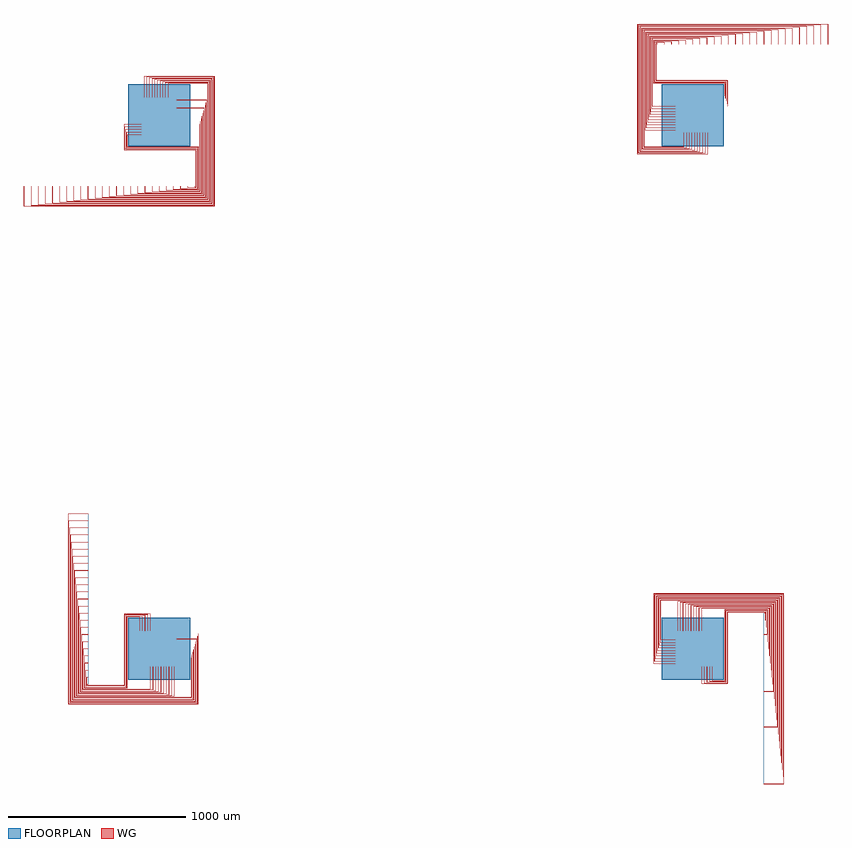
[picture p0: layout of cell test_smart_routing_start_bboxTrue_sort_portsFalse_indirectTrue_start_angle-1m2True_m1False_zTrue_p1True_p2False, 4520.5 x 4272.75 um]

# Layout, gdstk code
import gdstk
lib = gdstk.Library(unit=1e-6, precision=1e-09)
def R(c, l, rs):  # rectangles x0, y0, x1, y1
    for r in rs: c.add(gdstk.rectangle(r[:2], r[2:], *l))
def P(c, l, *ps):  # polygons
    for p in ps: c.add(gdstk.Polygon(p, *l))
WG = (1, 0)
FLOORPLAN = (10, 0)

test_smart_routing_start = lib.new_cell('test_smart_routing_start_bboxTrue_sort_portsFalse_indirectTrue_start_angle-1m2True_m1False_zTrue_p1True_p2False')
P(test_smart_routing_start, WG, [(3100,3049.75),(3100,3049.95),(3197.3,3049.95),(3197.3,3197.3),(2795.55,3197.3),(2795.55,3404.2),(2799.95,3404.2),(2799.95,3400),(2799.75,3400),(2799.75,3404),(2795.75,3404),(2795.75,3197.5),(3197.5,3197.5),(3197.5,3049.75)],
  [(3100,3050.05),(3100,3050.25),(3197,3050.25),(3197,3197),(2795.25,3197),(2795.25,3404.5),(2800.25,3404.5),(2800.25,3400),(2800.05,3400),(2800.05,3404.3),(2795.45,3404.3),(2795.45,3197.2),(3197.2,3197.2),(3197.2,3050.05)],
  [(3100,3064.75),(3100,3064.95),(3192.8,3064.95),(3192.8,3192.8),(2791.05,3192.8),(2791.05,3408.7),(2839.95,3408.7),(2839.95,3400),(2839.75,3400),(2839.75,3408.5),(2791.25,3408.5),(2791.25,3193),(3193,3193),(3193,3064.75)],
  [(3100,3065.05),(3100,3065.25),(3192.5,3065.25),(3192.5,3192.5),(2790.75,3192.5),(2790.75,3409),(2840.25,3409),(2840.25,3400),(2840.05,3400),(2840.05,3408.8),(2790.95,3408.8),(2790.95,3192.7),(3192.7,3192.7),(3192.7,3065.05)],
  [(3100,3079.75),(3100,3079.95),(3188.3,3079.95),(3188.3,3188.3),(2786.55,3188.3),(2786.55,3413.2),(2879.95,3413.2),(2879.95,3400),(2879.75,3400),(2879.75,3413),(2786.75,3413),(2786.75,3188.5),(3188.5,3188.5),(3188.5,3079.75)],
  [(3100,3080.05),(3100,3080.25),(3188,3080.25),(3188,3188),(2786.25,3188),(2786.25,3413.5),(2880.25,3413.5),(2880.25,3400),(2880.05,3400),(2880.05,3413.3),(2786.45,3413.3),(2786.45,3188.2),(3188.2,3188.2),(3188.2,3080.05)],
  [(3100,3094.75),(3100,3094.95),(3183.8,3094.95),(3183.8,3183.8),(2782.05,3183.8),(2782.05,3417.7),(2919.95,3417.7),(2919.95,3400),(2919.75,3400),(2919.75,3417.5),(2782.25,3417.5),(2782.25,3184),(3184,3184),(3184,3094.75)],
  [(3100,3095.05),(3100,3095.25),(3183.5,3095.25),(3183.5,3183.5),(2781.75,3183.5),(2781.75,3418),(2920.25,3418),(2920.25,3400),(2920.05,3400),(2920.05,3417.8),(2781.95,3417.8),(2781.95,3183.7),(3183.7,3183.7),(3183.7,3095.05)],
  [(3100,3109.75),(3100,3109.95),(3179.3,3109.95),(3179.3,3179.3),(2777.55,3179.3),(2777.55,3422.2),(2959.95,3422.2),(2959.95,3400),(2959.75,3400),(2959.75,3422),(2777.75,3422),(2777.75,3179.5),(3179.5,3179.5),(3179.5,3109.75)],
  [(3100,3110.05),(3100,3110.25),(3179,3110.25),(3179,3179),(2777.25,3179),(2777.25,3422.5),(2960.25,3422.5),(2960.25,3400),(2960.05,3400),(2960.05,3422.3),(2777.45,3422.3),(2777.45,3179.2),(3179.2,3179.2),(3179.2,3110.05)],
  [(2773.05,3050.05),(2773.05,3426.7),(2999.95,3426.7),(2999.95,3400),(2999.75,3400),(2999.75,3426.5),(2773.25,3426.5),(2773.25,3050.25),(2900,3050.25),(2900,3050.05)],
  [(2772.75,3049.75),(2772.75,3427),(3000.25,3427),(3000.25,3400),(3000.05,3400),(3000.05,3426.8),(2772.95,3426.8),(2772.95,3049.95),(2900,3049.95),(2900,3049.75)],
  [(2768.55,3035.05),(2768.55,3431.2),(3039.95,3431.2),(3039.95,3400),(3039.75,3400),(3039.75,3431),(2768.75,3431),(2768.75,3035.25),(2900,3035.25),(2900,3035.05)],
  [(2768.25,3034.75),(2768.25,3431.5),(3040.25,3431.5),(3040.25,3400),(3040.05,3400),(3040.05,3431.3),(2768.45,3431.3),(2768.45,3034.95),(2900,3034.95),(2900,3034.75)],
  [(2764.05,3020.05),(2764.05,3435.7),(3079.95,3435.7),(3079.95,3400),(3079.75,3400),(3079.75,3435.5),(2764.25,3435.5),(2764.25,3020.25),(2900,3020.25),(2900,3020.05)],
  [(2763.75,3019.75),(2763.75,3436),(3080.25,3436),(3080.25,3400),(3080.05,3400),(3080.05,3435.8),(2763.95,3435.8),(2763.95,3019.95),(2900,3019.95),(2900,3019.75)],
  [(2759.55,3005.05),(2759.55,3440.2),(3119.95,3440.2),(3119.95,3400),(3119.75,3400),(3119.75,3440),(2759.75,3440),(2759.75,3005.25),(2900,3005.25),(2900,3005.05)],
  [(2759.25,3004.75),(2759.25,3440.5),(3120.25,3440.5),(3120.25,3400),(3120.05,3400),(3120.05,3440.3),(2759.45,3440.3),(2759.45,3004.95),(2900,3004.95),(2900,3004.75)],
  [(2755.05,2990.05),(2755.05,3444.7),(3159.95,3444.7),(3159.95,3400),(3159.75,3400),(3159.75,3444.5),(2755.25,3444.5),(2755.25,2990.25),(2900,2990.25),(2900,2990.05)],
  [(2754.75,2989.75),(2754.75,3445),(3160.25,3445),(3160.25,3400),(3160.05,3400),(3160.05,3444.8),(2754.95,3444.8),(2754.95,2989.95),(2900,2989.95),(2900,2989.75)],
  [(2750.55,2975.05),(2750.55,3449.2),(3199.95,3449.2),(3199.95,3400),(3199.75,3400),(3199.75,3449),(2750.75,3449),(2750.75,2975.25),(2900,2975.25),(2900,2975.05)],
  [(2750.25,2974.75),(2750.25,3449.5),(3200.25,3449.5),(3200.25,3400),(3200.05,3400),(3200.05,3449.3),(2750.45,3449.3),(2750.45,2974.95),(2900,2974.95),(2900,2974.75)],
  [(2746.05,2960.05),(2746.05,3453.7),(3239.95,3453.7),(3239.95,3400),(3239.75,3400),(3239.75,3453.5),(2746.25,3453.5),(2746.25,2960.25),(2900,2960.25),(2900,2960.05)],
  [(2745.75,2959.75),(2745.75,3454),(3240.25,3454),(3240.25,3400),(3240.05,3400),(3240.05,3453.8),(2745.95,3453.8),(2745.95,2959.95),(2900,2959.95),(2900,2959.75)],
  [(2741.55,2945.05),(2741.55,3458.2),(3279.95,3458.2),(3279.95,3400),(3279.75,3400),(3279.75,3458),(2741.75,3458),(2741.75,2945.25),(2900,2945.25),(2900,2945.05)],
  [(2741.25,2944.75),(2741.25,3458.5),(3280.25,3458.5),(3280.25,3400),(3280.05,3400),(3280.05,3458.3),(2741.45,3458.3),(2741.45,2944.95),(2900,2944.95),(2900,2944.75)],
  [(2737.05,2930.05),(2737.05,3462.7),(3319.95,3462.7),(3319.95,3400),(3319.75,3400),(3319.75,3462.5),(2737.25,3462.5),(2737.25,2930.25),(2900,2930.25),(2900,2930.05)],
  [(2736.75,2929.75),(2736.75,3463),(3320.25,3463),(3320.25,3400),(3320.05,3400),(3320.05,3462.8),(2736.95,3462.8),(2736.95,2929.95),(2900,2929.95),(2900,2929.75)],
  [(2732.55,2915.05),(2732.55,3467.2),(3359.95,3467.2),(3359.95,3400),(3359.75,3400),(3359.75,3467),(2732.75,3467),(2732.75,2915.25),(2900,2915.25),(2900,2915.05)],
  [(2732.25,2914.75),(2732.25,3467.5),(3360.25,3467.5),(3360.25,3400),(3360.05,3400),(3360.05,3467.3),(2732.45,3467.3),(2732.45,2914.95),(2900,2914.95),(2900,2914.75)],
  [(2728.05,2820.8),(2728.05,3471.7),(3399.95,3471.7),(3399.95,3400),(3399.75,3400),(3399.75,3471.5),(2728.25,3471.5),(2728.25,2821),(2949.75,2821),(2949.75,2900),(2949.95,2900),(2949.95,2820.8)],
  [(2727.75,2820.5),(2727.75,3472),(3400.25,3472),(3400.25,3400),(3400.05,3400),(3400.05,3471.8),(2727.95,3471.8),(2727.95,2820.7),(2950.05,2820.7),(2950.05,2900),(2950.25,2900),(2950.25,2820.5)],
  [(2723.55,2816.3),(2723.55,3476.2),(3439.95,3476.2),(3439.95,3400),(3439.75,3400),(3439.75,3476),(2723.75,3476),(2723.75,2816.5),(2964.75,2816.5),(2964.75,2900),(2964.95,2900),(2964.95,2816.3)],
  [(2723.25,2816),(2723.25,3476.5),(3440.25,3476.5),(3440.25,3400),(3440.05,3400),(3440.05,3476.3),(2723.45,3476.3),(2723.45,2816.2),(2965.05,2816.2),(2965.05,2900),(2965.25,2900),(2965.25,2816)],
  [(2719.05,2811.8),(2719.05,3480.7),(3479.95,3480.7),(3479.95,3400),(3479.75,3400),(3479.75,3480.5),(2719.25,3480.5),(2719.25,2812),(2979.75,2812),(2979.75,2900),(2979.95,2900),(2979.95,2811.8)],
  [(2718.75,2811.5),(2718.75,3481),(3480.25,3481),(3480.25,3400),(3480.05,3400),(3480.05,3480.8),(2718.95,3480.8),(2718.95,2811.7),(2980.05,2811.7),(2980.05,2900),(2980.25,2900),(2980.25,2811.5)],
  [(2714.55,2807.3),(2714.55,3485.2),(3519.95,3485.2),(3519.95,3400),(3519.75,3400),(3519.75,3485),(2714.75,3485),(2714.75,2807.5),(2994.75,2807.5),(2994.75,2900),(2994.95,2900),(2994.95,2807.3)],
  [(2714.25,2807),(2714.25,3485.5),(3520.25,3485.5),(3520.25,3400),(3520.05,3400),(3520.05,3485.3),(2714.45,3485.3),(2714.45,2807.2),(2995.05,2807.2),(2995.05,2900),(2995.25,2900),(2995.25,2807)],
  [(2710.05,2802.8),(2710.05,3489.7),(3559.95,3489.7),(3559.95,3400),(3559.75,3400),(3559.75,3489.5),(2710.25,3489.5),(2710.25,2803),(3009.75,2803),(3009.75,2900),(3009.95,2900),(3009.95,2802.8)],
  [(2709.75,2802.5),(2709.75,3490),(3560.25,3490),(3560.25,3400),(3560.05,3400),(3560.05,3489.8),(2709.95,3489.8),(2709.95,2802.7),(3010.05,2802.7),(3010.05,2900),(3010.25,2900),(3010.25,2802.5)],
  [(2705.55,2798.3),(2705.55,3494.2),(3599.95,3494.2),(3599.95,3400),(3599.75,3400),(3599.75,3494),(2705.75,3494),(2705.75,2798.5),(3024.75,2798.5),(3024.75,2900),(3024.95,2900),(3024.95,2798.3)],
  [(2705.25,2798),(2705.25,3494.5),(3600.25,3494.5),(3600.25,3400),(3600.05,3400),(3600.05,3494.3),(2705.45,3494.3),(2705.45,2798.2),(3025.05,2798.2),(3025.05,2900),(3025.25,2900),(3025.25,2798)],
  [(2701.05,2793.8),(2701.05,3498.7),(3639.95,3498.7),(3639.95,3400),(3639.75,3400),(3639.75,3498.5),(2701.25,3498.5),(2701.25,2794),(3039.75,2794),(3039.75,2900),(3039.95,2900),(3039.95,2793.8)],
  [(2700.75,2793.5),(2700.75,3499),(3640.25,3499),(3640.25,3400),(3640.05,3400),(3640.05,3498.8),(2700.95,3498.8),(2700.95,2793.7),(3040.05,2793.7),(3040.05,2900),(3040.25,2900),(3040.25,2793.5)],
  [(2696.55,2789.3),(2696.55,3503.2),(3679.95,3503.2),(3679.95,3400),(3679.75,3400),(3679.75,3503),(2696.75,3503),(2696.75,2789.5),(3054.75,2789.5),(3054.75,2900),(3054.95,2900),(3054.95,2789.3)],
  [(2696.25,2789),(2696.25,3503.5),(3680.25,3503.5),(3680.25,3400),(3680.05,3400),(3680.05,3503.3),(2696.45,3503.3),(2696.45,2789.2),(3055.05,2789.2),(3055.05,2900),(3055.25,2900),(3055.25,2789)],
  [(2692.05,2784.8),(2692.05,3507.7),(3719.95,3507.7),(3719.95,3400),(3719.75,3400),(3719.75,3507.5),(2692.25,3507.5),(2692.25,2785),(3069.75,2785),(3069.75,2900),(3069.95,2900),(3069.95,2784.8)],
  [(2691.75,2784.5),(2691.75,3508),(3720.25,3508),(3720.25,3400),(3720.05,3400),(3720.05,3507.8),(2691.95,3507.8),(2691.95,2784.7),(3070.05,2784.7),(3070.05,2900),(3070.25,2900),(3070.25,2784.5)],
  [(2687.55,2780.3),(2687.55,3512.2),(3759.95,3512.2),(3759.95,3400),(3759.75,3400),(3759.75,3512),(2687.75,3512),(2687.75,2780.5),(3084.75,2780.5),(3084.75,2900),(3084.95,2900),(3084.95,2780.3)],
  [(2687.25,2780),(2687.25,3512.5),(3760.25,3512.5),(3760.25,3400),(3760.05,3400),(3760.05,3512.3),(2687.45,3512.3),(2687.45,2780.2),(3085.05,2780.2),(3085.05,2900),(3085.25,2900),(3085.25,2780)],
  [(199.75,2595.5),(199.75,2600),(199.95,2600),(199.95,2595.7),(204.55,2595.7),(204.55,2802.8),(-197.2,2802.8),(-197.2,2949.95),(-100,2949.95),(-100,2949.75),(-197,2949.75),(-197,2803),(204.75,2803),(204.75,2595.5)],
  [(200.05,2595.8),(200.05,2600),(200.25,2600),(200.25,2596),(204.25,2596),(204.25,2802.5),(-197.5,2802.5),(-197.5,2950.25),(-100,2950.25),(-100,2950.05),(-197.3,2950.05),(-197.3,2802.7),(204.45,2802.7),(204.45,2595.8)],
  [(159.75,2591),(159.75,2600),(159.95,2600),(159.95,2591.2),(209.05,2591.2),(209.05,2807.3),(-192.7,2807.3),(-192.7,2934.95),(-100,2934.95),(-100,2934.75),(-192.5,2934.75),(-192.5,2807.5),(209.25,2807.5),(209.25,2591)],
  [(160.05,2591.3),(160.05,2600),(160.25,2600),(160.25,2591.5),(208.75,2591.5),(208.75,2807),(-193,2807),(-193,2935.25),(-100,2935.25),(-100,2935.05),(-192.8,2935.05),(-192.8,2807.2),(208.95,2807.2),(208.95,2591.3)],
  [(119.75,2586.5),(119.75,2600),(119.95,2600),(119.95,2586.7),(213.55,2586.7),(213.55,2811.8),(-188.2,2811.8),(-188.2,2919.95),(-100,2919.95),(-100,2919.75),(-188,2919.75),(-188,2812),(213.75,2812),(213.75,2586.5)],
  [(120.05,2586.8),(120.05,2600),(120.25,2600),(120.25,2587),(213.25,2587),(213.25,2811.5),(-188.5,2811.5),(-188.5,2920.25),(-100,2920.25),(-100,2920.05),(-188.3,2920.05),(-188.3,2811.7),(213.45,2811.7),(213.45,2586.8)],
  [(79.75,2582),(79.75,2600),(79.95,2600),(79.95,2582.2),(218.05,2582.2),(218.05,2816.3),(-183.7,2816.3),(-183.7,2904.95),(-100,2904.95),(-100,2904.75),(-183.5,2904.75),(-183.5,2816.5),(218.25,2816.5),(218.25,2582)],
  [(80.05,2582.3),(80.05,2600),(80.25,2600),(80.25,2582.5),(217.75,2582.5),(217.75,2816),(-184,2816),(-184,2905.25),(-100,2905.25),(-100,2905.05),(-183.8,2905.05),(-183.8,2816.2),(217.95,2816.2),(217.95,2582.3)],
  [(39.75,2577.5),(39.75,2600),(39.95,2600),(39.95,2577.7),(222.55,2577.7),(222.55,2820.8),(-179.2,2820.8),(-179.2,2889.95),(-100,2889.95),(-100,2889.75),(-179,2889.75),(-179,2821),(222.75,2821),(222.75,2577.5)],
  [(40.05,2577.8),(40.05,2600),(40.25,2600),(40.25,2578),(222.25,2578),(222.25,2820.5),(-179.5,2820.5),(-179.5,2890.25),(-100,2890.25),(-100,2890.05),(-179.3,2890.05),(-179.3,2820.7),(222.45,2820.7),(222.45,2577.8)],
  [(0.05,2573.3),(0.05,2600),(0.25,2600),(0.25,2573.5),(226.75,2573.5),(226.75,2949.75),(100,2949.75),(100,2949.95),(226.95,2949.95),(226.95,2573.3)],
  [(-0.25,2573),(-0.25,2600),(-0.05,2600),(-0.05,2573.2),(227.05,2573.2),(227.05,2950.05),(100,2950.05),(100,2950.25),(227.25,2950.25),(227.25,2573)],
  [(-39.95,2568.8),(-39.95,2600),(-39.75,2600),(-39.75,2569),(231.25,2569),(231.25,2964.75),(100,2964.75),(100,2964.95),(231.45,2964.95),(231.45,2568.8)],
  [(-40.25,2568.5),(-40.25,2600),(-40.05,2600),(-40.05,2568.7),(231.55,2568.7),(231.55,2965.05),(100,2965.05),(100,2965.25),(231.75,2965.25),(231.75,2568.5)],
  [(-79.95,2564.3),(-79.95,2600),(-79.75,2600),(-79.75,2564.5),(235.75,2564.5),(235.75,2979.75),(100,2979.75),(100,2979.95),(235.95,2979.95),(235.95,2564.3)],
  [(-80.25,2564),(-80.25,2600),(-80.05,2600),(-80.05,2564.2),(236.05,2564.2),(236.05,2980.05),(100,2980.05),(100,2980.25),(236.25,2980.25),(236.25,2564)],
  [(-119.95,2559.8),(-119.95,2600),(-119.75,2600),(-119.75,2560),(240.25,2560),(240.25,2994.75),(100,2994.75),(100,2994.95),(240.45,2994.95),(240.45,2559.8)],
  [(-120.25,2559.5),(-120.25,2600),(-120.05,2600),(-120.05,2559.7),(240.55,2559.7),(240.55,2995.05),(100,2995.05),(100,2995.25),(240.75,2995.25),(240.75,2559.5)],
  [(-159.95,2555.3),(-159.95,2600),(-159.75,2600),(-159.75,2555.5),(244.75,2555.5),(244.75,3009.75),(100,3009.75),(100,3009.95),(244.95,3009.95),(244.95,2555.3)],
  [(-160.25,2555),(-160.25,2600),(-160.05,2600),(-160.05,2555.2),(245.05,2555.2),(245.05,3010.05),(100,3010.05),(100,3010.25),(245.25,3010.25),(245.25,2555)],
  [(-199.95,2550.8),(-199.95,2600),(-199.75,2600),(-199.75,2551),(249.25,2551),(249.25,3024.75),(100,3024.75),(100,3024.95),(249.45,3024.95),(249.45,2550.8)],
  [(-200.25,2550.5),(-200.25,2600),(-200.05,2600),(-200.05,2550.7),(249.55,2550.7),(249.55,3025.05),(100,3025.05),(100,3025.25),(249.75,3025.25),(249.75,2550.5)],
  [(-239.95,2546.3),(-239.95,2600),(-239.75,2600),(-239.75,2546.5),(253.75,2546.5),(253.75,3039.75),(100,3039.75),(100,3039.95),(253.95,3039.95),(253.95,2546.3)],
  [(-240.25,2546),(-240.25,2600),(-240.05,2600),(-240.05,2546.2),(254.05,2546.2),(254.05,3040.05),(100,3040.05),(100,3040.25),(254.25,3040.25),(254.25,2546)],
  [(-279.95,2541.8),(-279.95,2600),(-279.75,2600),(-279.75,2542),(258.25,2542),(258.25,3054.75),(100,3054.75),(100,3054.95),(258.45,3054.95),(258.45,2541.8)],
  [(-280.25,2541.5),(-280.25,2600),(-280.05,2600),(-280.05,2541.7),(258.55,2541.7),(258.55,3055.05),(100,3055.05),(100,3055.25),(258.75,3055.25),(258.75,2541.5)],
  [(-319.95,2537.3),(-319.95,2600),(-319.75,2600),(-319.75,2537.5),(262.75,2537.5),(262.75,3069.75),(100,3069.75),(100,3069.95),(262.95,3069.95),(262.95,2537.3)],
  [(-320.25,2537),(-320.25,2600),(-320.05,2600),(-320.05,2537.2),(263.05,2537.2),(263.05,3070.05),(100,3070.05),(100,3070.25),(263.25,3070.25),(263.25,2537)],
  [(-359.95,2532.8),(-359.95,2600),(-359.75,2600),(-359.75,2533),(267.25,2533),(267.25,3084.75),(100,3084.75),(100,3084.95),(267.45,3084.95),(267.45,2532.8)],
  [(-360.25,2532.5),(-360.25,2600),(-360.05,2600),(-360.05,2532.7),(267.55,2532.7),(267.55,3085.05),(100,3085.05),(100,3085.25),(267.75,3085.25),(267.75,2532.5)],
  [(-399.95,2528.3),(-399.95,2600),(-399.75,2600),(-399.75,2528.5),(271.75,2528.5),(271.75,3179),(50.25,3179),(50.25,3100),(50.05,3100),(50.05,3179.2),(271.95,3179.2),(271.95,2528.3)],
  [(-400.25,2528),(-400.25,2600),(-400.05,2600),(-400.05,2528.2),(272.05,2528.2),(272.05,3179.3),(49.95,3179.3),(49.95,3100),(49.75,3100),(49.75,3179.5),(272.25,3179.5),(272.25,2528)],
  [(-439.95,2523.8),(-439.95,2600),(-439.75,2600),(-439.75,2524),(276.25,2524),(276.25,3183.5),(35.25,3183.5),(35.25,3100),(35.05,3100),(35.05,3183.7),(276.45,3183.7),(276.45,2523.8)],
  [(-440.25,2523.5),(-440.25,2600),(-440.05,2600),(-440.05,2523.7),(276.55,2523.7),(276.55,3183.8),(34.95,3183.8),(34.95,3100),(34.75,3100),(34.75,3184),(276.75,3184),(276.75,2523.5)],
  [(-479.95,2519.3),(-479.95,2600),(-479.75,2600),(-479.75,2519.5),(280.75,2519.5),(280.75,3188),(20.25,3188),(20.25,3100),(20.05,3100),(20.05,3188.2),(280.95,3188.2),(280.95,2519.3)],
  [(-480.25,2519),(-480.25,2600),(-480.05,2600),(-480.05,2519.2),(281.05,2519.2),(281.05,3188.3),(19.95,3188.3),(19.95,3100),(19.75,3100),(19.75,3188.5),(281.25,3188.5),(281.25,2519)],
  [(-519.95,2514.8),(-519.95,2600),(-519.75,2600),(-519.75,2515),(285.25,2515),(285.25,3192.5),(5.25,3192.5),(5.25,3100),(5.05,3100),(5.05,3192.7),(285.45,3192.7),(285.45,2514.8)],
  [(-520.25,2514.5),(-520.25,2600),(-520.05,2600),(-520.05,2514.7),(285.55,2514.7),(285.55,3192.8),(4.95,3192.8),(4.95,3100),(4.75,3100),(4.75,3193),(285.75,3193),(285.75,2514.5)],
  [(-559.95,2510.3),(-559.95,2600),(-559.75,2600),(-559.75,2510.5),(289.75,2510.5),(289.75,3197),(-9.75,3197),(-9.75,3100),(-9.95,3100),(-9.95,3197.2),(289.95,3197.2),(289.95,2510.3)],
  [(-560.25,2510),(-560.25,2600),(-560.05,2600),(-560.05,2510.2),(290.05,2510.2),(290.05,3197.3),(-10.05,3197.3),(-10.05,3100),(-10.25,3100),(-10.25,3197.5),(290.25,3197.5),(290.25,2510)],
  [(-599.95,2505.8),(-599.95,2600),(-599.75,2600),(-599.75,2506),(294.25,2506),(294.25,3201.5),(-24.75,3201.5),(-24.75,3100),(-24.95,3100),(-24.95,3201.7),(294.45,3201.7),(294.45,2505.8)],
  [(-600.25,2505.5),(-600.25,2600),(-600.05,2600),(-600.05,2505.7),(294.55,2505.7),(294.55,3201.8),(-25.05,3201.8),(-25.05,3100),(-25.25,3100),(-25.25,3202),(294.75,3202),(294.75,2505.5)],
  [(-639.95,2501.3),(-639.95,2600),(-639.75,2600),(-639.75,2501.5),(298.75,2501.5),(298.75,3206),(-39.75,3206),(-39.75,3100),(-39.95,3100),(-39.95,3206.2),(298.95,3206.2),(298.95,2501.3)],
  [(-640.25,2501),(-640.25,2600),(-640.05,2600),(-640.05,2501.2),(299.05,2501.2),(299.05,3206.3),(-40.05,3206.3),(-40.05,3100),(-40.25,3100),(-40.25,3206.5),(299.25,3206.5),(299.25,2501)],
  [(-679.95,2496.8),(-679.95,2600),(-679.75,2600),(-679.75,2497),(303.25,2497),(303.25,3210.5),(-54.75,3210.5),(-54.75,3100),(-54.95,3100),(-54.95,3210.7),(303.45,3210.7),(303.45,2496.8)],
  [(-680.25,2496.5),(-680.25,2600),(-680.05,2600),(-680.05,2496.7),(303.55,2496.7),(303.55,3210.8),(-55.05,3210.8),(-55.05,3100),(-55.25,3100),(-55.25,3211),(303.75,3211),(303.75,2496.5)],
  [(-719.95,2492.3),(-719.95,2600),(-719.75,2600),(-719.75,2492.5),(307.75,2492.5),(307.75,3215),(-69.75,3215),(-69.75,3100),(-69.95,3100),(-69.95,3215.2),(307.95,3215.2),(307.95,2492.3)],
  [(-720.25,2492),(-720.25,2600),(-720.05,2600),(-720.05,2492.2),(308.05,2492.2),(308.05,3215.3),(-70.05,3215.3),(-70.05,3100),(-70.25,3100),(-70.25,3215.5),(308.25,3215.5),(308.25,2492)],
  [(-759.95,2487.8),(-759.95,2600),(-759.75,2600),(-759.75,2488),(312.25,2488),(312.25,3219.5),(-84.75,3219.5),(-84.75,3100),(-84.95,3100),(-84.95,3219.7),(312.45,3219.7),(312.45,2487.8)],
  [(-760.25,2487.5),(-760.25,2600),(-760.05,2600),(-760.05,2487.7),(312.55,2487.7),(312.55,3219.8),(-85.05,3219.8),(-85.05,3100),(-85.25,3100),(-85.25,3220),(312.75,3220),(312.75,2487.5)],
  [(-404.5,-204.75),(-404.5,-199.75),(-400,-199.75),(-400,-199.95),(-404.3,-199.95),(-404.3,-204.55),(-197.2,-204.55),(-197.2,197.2),(-50.05,197.2),(-50.05,100),(-50.25,100),(-50.25,197),(-197,197),(-197,-204.75)],
  [(-404.2,-204.45),(-404.2,-200.05),(-400,-200.05),(-400,-200.25),(-404,-200.25),(-404,-204.25),(-197.5,-204.25),(-197.5,197.5),(-49.75,197.5),(-49.75,100),(-49.95,100),(-49.95,197.3),(-197.3,197.3),(-197.3,-204.45)],
  [(-409,-209.25),(-409,-159.75),(-400,-159.75),(-400,-159.95),(-408.8,-159.95),(-408.8,-209.05),(-192.7,-209.05),(-192.7,192.7),(-65.05,192.7),(-65.05,100),(-65.25,100),(-65.25,192.5),(-192.5,192.5),(-192.5,-209.25)],
  [(-408.7,-208.95),(-408.7,-160.05),(-400,-160.05),(-400,-160.25),(-408.5,-160.25),(-408.5,-208.75),(-193,-208.75),(-193,193),(-64.75,193),(-64.75,100),(-64.95,100),(-64.95,192.8),(-192.8,192.8),(-192.8,-208.95)],
  [(-413.5,-213.75),(-413.5,-119.75),(-400,-119.75),(-400,-119.95),(-413.3,-119.95),(-413.3,-213.55),(-188.2,-213.55),(-188.2,188.2),(-80.05,188.2),(-80.05,100),(-80.25,100),(-80.25,188),(-188,188),(-188,-213.75)],
  [(-413.2,-213.45),(-413.2,-120.05),(-400,-120.05),(-400,-120.25),(-413,-120.25),(-413,-213.25),(-188.5,-213.25),(-188.5,188.5),(-79.75,188.5),(-79.75,100),(-79.95,100),(-79.95,188.3),(-188.3,188.3),(-188.3,-213.45)],
  [(-418,-218.25),(-418,-79.75),(-400,-79.75),(-400,-79.95),(-417.8,-79.95),(-417.8,-218.05),(-183.7,-218.05),(-183.7,183.7),(-95.05,183.7),(-95.05,100),(-95.25,100),(-95.25,183.5),(-183.5,183.5),(-183.5,-218.25)],
  [(-417.7,-217.95),(-417.7,-80.05),(-400,-80.05),(-400,-80.25),(-417.5,-80.25),(-417.5,-217.75),(-184,-217.75),(-184,184),(-94.75,184),(-94.75,100),(-94.95,100),(-94.95,183.8),(-183.8,183.8),(-183.8,-217.95)],
  [(-422.5,-222.75),(-422.5,-39.75),(-400,-39.75),(-400,-39.95),(-422.3,-39.95),(-422.3,-222.55),(-179.2,-222.55),(-179.2,179.2),(-110.05,179.2),(-110.05,100),(-110.25,100),(-110.25,179),(-179,179),(-179,-222.75)],
  [(-422.2,-222.45),(-422.2,-40.05),(-400,-40.05),(-400,-40.25),(-422,-40.25),(-422,-222.25),(-179.5,-222.25),(-179.5,179.5),(-109.75,179.5),(-109.75,100),(-109.95,100),(-109.95,179.3),(-179.3,179.3),(-179.3,-222.45)],
  [(-426.7,-226.95),(-426.7,-0.05),(-400,-0.05),(-400,-0.25),(-426.5,-0.25),(-426.5,-226.75),(-50.25,-226.75),(-50.25,-100),(-50.05,-100),(-50.05,-226.95)],
  [(-427,-227.25),(-427,0.25),(-400,0.25),(-400,0.05),(-426.8,0.05),(-426.8,-227.05),(-49.95,-227.05),(-49.95,-100),(-49.75,-100),(-49.75,-227.25)],
  [(-431.2,-231.45),(-431.2,39.95),(-400,39.95),(-400,39.75),(-431,39.75),(-431,-231.25),(-35.25,-231.25),(-35.25,-100),(-35.05,-100),(-35.05,-231.45)],
  [(-431.5,-231.75),(-431.5,40.25),(-400,40.25),(-400,40.05),(-431.3,40.05),(-431.3,-231.55),(-34.95,-231.55),(-34.95,-100),(-34.75,-100),(-34.75,-231.75)],
  [(-435.7,-235.95),(-435.7,79.95),(-400,79.95),(-400,79.75),(-435.5,79.75),(-435.5,-235.75),(-20.25,-235.75),(-20.25,-100),(-20.05,-100),(-20.05,-235.95)],
  [(-436,-236.25),(-436,80.25),(-400,80.25),(-400,80.05),(-435.8,80.05),(-435.8,-236.05),(-19.95,-236.05),(-19.95,-100),(-19.75,-100),(-19.75,-236.25)],
  [(-440.2,-240.45),(-440.2,119.95),(-400,119.95),(-400,119.75),(-440,119.75),(-440,-240.25),(-5.25,-240.25),(-5.25,-100),(-5.05,-100),(-5.05,-240.45)],
  [(-440.5,-240.75),(-440.5,120.25),(-400,120.25),(-400,120.05),(-440.3,120.05),(-440.3,-240.55),(-4.95,-240.55),(-4.95,-100),(-4.75,-100),(-4.75,-240.75)],
  [(-444.7,-244.95),(-444.7,159.95),(-400,159.95),(-400,159.75),(-444.5,159.75),(-444.5,-244.75),(9.75,-244.75),(9.75,-100),(9.95,-100),(9.95,-244.95)],
  [(-445,-245.25),(-445,160.25),(-400,160.25),(-400,160.05),(-444.8,160.05),(-444.8,-245.05),(10.05,-245.05),(10.05,-100),(10.25,-100),(10.25,-245.25)],
  [(-449.2,-249.45),(-449.2,199.95),(-400,199.95),(-400,199.75),(-449,199.75),(-449,-249.25),(24.75,-249.25),(24.75,-100),(24.95,-100),(24.95,-249.45)],
  [(-449.5,-249.75),(-449.5,200.25),(-400,200.25),(-400,200.05),(-449.3,200.05),(-449.3,-249.55),(25.05,-249.55),(25.05,-100),(25.25,-100),(25.25,-249.75)],
  [(-453.7,-253.95),(-453.7,239.95),(-400,239.95),(-400,239.75),(-453.5,239.75),(-453.5,-253.75),(39.75,-253.75),(39.75,-100),(39.95,-100),(39.95,-253.95)],
  [(-454,-254.25),(-454,240.25),(-400,240.25),(-400,240.05),(-453.8,240.05),(-453.8,-254.05),(40.05,-254.05),(40.05,-100),(40.25,-100),(40.25,-254.25)],
  [(-458.2,-258.45),(-458.2,279.95),(-400,279.95),(-400,279.75),(-458,279.75),(-458,-258.25),(54.75,-258.25),(54.75,-100),(54.95,-100),(54.95,-258.45)],
  [(-458.5,-258.75),(-458.5,280.25),(-400,280.25),(-400,280.05),(-458.3,280.05),(-458.3,-258.55),(55.05,-258.55),(55.05,-100),(55.25,-100),(55.25,-258.75)],
  [(-462.7,-262.95),(-462.7,319.95),(-400,319.95),(-400,319.75),(-462.5,319.75),(-462.5,-262.75),(69.75,-262.75),(69.75,-100),(69.95,-100),(69.95,-262.95)],
  [(-463,-263.25),(-463,320.25),(-400,320.25),(-400,320.05),(-462.8,320.05),(-462.8,-263.05),(70.05,-263.05),(70.05,-100),(70.25,-100),(70.25,-263.25)],
  [(-467.2,-267.45),(-467.2,359.95),(-400,359.95),(-400,359.75),(-467,359.75),(-467,-267.25),(84.75,-267.25),(84.75,-100),(84.95,-100),(84.95,-267.45)],
  [(-467.5,-267.75),(-467.5,360.25),(-400,360.25),(-400,360.05),(-467.3,360.05),(-467.3,-267.55),(85.05,-267.55),(85.05,-100),(85.25,-100),(85.25,-267.75)],
  [(-471.7,-271.95),(-471.7,399.95),(-400,399.95),(-400,399.75),(-471.5,399.75),(-471.5,-271.75),(179,-271.75),(179,-50.25),(100,-50.25),(100,-50.05),(179.2,-50.05),(179.2,-271.95)],
  [(-472,-272.25),(-472,400.25),(-400,400.25),(-400,400.05),(-471.8,400.05),(-471.8,-272.05),(179.3,-272.05),(179.3,-49.95),(100,-49.95),(100,-49.75),(179.5,-49.75),(179.5,-272.25)],
  [(-476.2,-276.45),(-476.2,439.95),(-400,439.95),(-400,439.75),(-476,439.75),(-476,-276.25),(183.5,-276.25),(183.5,-35.25),(100,-35.25),(100,-35.05),(183.7,-35.05),(183.7,-276.45)],
  [(-476.5,-276.75),(-476.5,440.25),(-400,440.25),(-400,440.05),(-476.3,440.05),(-476.3,-276.55),(183.8,-276.55),(183.8,-34.95),(100,-34.95),(100,-34.75),(184,-34.75),(184,-276.75)],
  [(-480.7,-280.95),(-480.7,479.95),(-400,479.95),(-400,479.75),(-480.5,479.75),(-480.5,-280.75),(188,-280.75),(188,-20.25),(100,-20.25),(100,-20.05),(188.2,-20.05),(188.2,-280.95)],
  [(-481,-281.25),(-481,480.25),(-400,480.25),(-400,480.05),(-480.8,480.05),(-480.8,-281.05),(188.3,-281.05),(188.3,-19.95),(100,-19.95),(100,-19.75),(188.5,-19.75),(188.5,-281.25)],
  [(-485.2,-285.45),(-485.2,519.95),(-400,519.95),(-400,519.75),(-485,519.75),(-485,-285.25),(192.5,-285.25),(192.5,-5.25),(100,-5.25),(100,-5.05),(192.7,-5.05),(192.7,-285.45)],
  [(-485.5,-285.75),(-485.5,520.25),(-400,520.25),(-400,520.05),(-485.3,520.05),(-485.3,-285.55),(192.8,-285.55),(192.8,-4.95),(100,-4.95),(100,-4.75),(193,-4.75),(193,-285.75)],
  [(-489.7,-289.95),(-489.7,559.95),(-400,559.95),(-400,559.75),(-489.5,559.75),(-489.5,-289.75),(197,-289.75),(197,9.75),(100,9.75),(100,9.95),(197.2,9.95),(197.2,-289.95)],
  [(-490,-290.25),(-490,560.25),(-400,560.25),(-400,560.05),(-489.8,560.05),(-489.8,-290.05),(197.3,-290.05),(197.3,10.05),(100,10.05),(100,10.25),(197.5,10.25),(197.5,-290.25)],
  [(-494.2,-294.45),(-494.2,599.95),(-400,599.95),(-400,599.75),(-494,599.75),(-494,-294.25),(201.5,-294.25),(201.5,24.75),(100,24.75),(100,24.95),(201.7,24.95),(201.7,-294.45)],
  [(-494.5,-294.75),(-494.5,600.25),(-400,600.25),(-400,600.05),(-494.3,600.05),(-494.3,-294.55),(201.8,-294.55),(201.8,25.05),(100,25.05),(100,25.25),(202,25.25),(202,-294.75)],
  [(-498.7,-298.95),(-498.7,639.95),(-400,639.95),(-400,639.75),(-498.5,639.75),(-498.5,-298.75),(206,-298.75),(206,39.75),(100,39.75),(100,39.95),(206.2,39.95),(206.2,-298.95)],
  [(-499,-299.25),(-499,640.25),(-400,640.25),(-400,640.05),(-498.8,640.05),(-498.8,-299.05),(206.3,-299.05),(206.3,40.05),(100,40.05),(100,40.25),(206.5,40.25),(206.5,-299.25)],
  [(-503.2,-303.45),(-503.2,679.95),(-400,679.95),(-400,679.75),(-503,679.75),(-503,-303.25),(210.5,-303.25),(210.5,54.75),(100,54.75),(100,54.95),(210.7,54.95),(210.7,-303.45)],
  [(-503.5,-303.75),(-503.5,680.25),(-400,680.25),(-400,680.05),(-503.3,680.05),(-503.3,-303.55),(210.8,-303.55),(210.8,55.05),(100,55.05),(100,55.25),(211,55.25),(211,-303.75)],
  [(-507.7,-307.95),(-507.7,719.95),(-400,719.95),(-400,719.75),(-507.5,719.75),(-507.5,-307.75),(215,-307.75),(215,69.75),(100,69.75),(100,69.95),(215.2,69.95),(215.2,-307.95)],
  [(-508,-308.25),(-508,720.25),(-400,720.25),(-400,720.05),(-507.8,720.05),(-507.8,-308.05),(215.3,-308.05),(215.3,70.05),(100,70.05),(100,70.25),(215.5,70.25),(215.5,-308.25)],
  [(-512.2,-312.45),(-512.2,759.95),(-400,759.95),(-400,759.75),(-512,759.75),(-512,-312.25),(219.5,-312.25),(219.5,84.75),(100,84.75),(100,84.95),(219.7,84.95),(219.7,-312.45)],
  [(-512.5,-312.75),(-512.5,760.25),(-400,760.25),(-400,760.05),(-512.3,760.05),(-512.3,-312.55),(219.8,-312.55),(219.8,85.05),(100,85.05),(100,85.25),(220,85.25),(220,-312.75)],
  [(3049.75,-197.5),(3049.75,-100),(3049.95,-100),(3049.95,-197.3),(3197.3,-197.3),(3197.3,204.45),(3404.2,204.45),(3404.2,200.05),(3400,200.05),(3400,200.25),(3404,200.25),(3404,204.25),(3197.5,204.25),(3197.5,-197.5)],
  [(3050.05,-197.2),(3050.05,-100),(3050.25,-100),(3050.25,-197),(3197,-197),(3197,204.75),(3404.5,204.75),(3404.5,199.75),(3400,199.75),(3400,199.95),(3404.3,199.95),(3404.3,204.55),(3197.2,204.55),(3197.2,-197.2)],
  [(3064.75,-193),(3064.75,-100),(3064.95,-100),(3064.95,-192.8),(3192.8,-192.8),(3192.8,208.95),(3408.7,208.95),(3408.7,160.05),(3400,160.05),(3400,160.25),(3408.5,160.25),(3408.5,208.75),(3193,208.75),(3193,-193)],
  [(3065.05,-192.7),(3065.05,-100),(3065.25,-100),(3065.25,-192.5),(3192.5,-192.5),(3192.5,209.25),(3409,209.25),(3409,159.75),(3400,159.75),(3400,159.95),(3408.8,159.95),(3408.8,209.05),(3192.7,209.05),(3192.7,-192.7)],
  [(3079.75,-188.5),(3079.75,-100),(3079.95,-100),(3079.95,-188.3),(3188.3,-188.3),(3188.3,213.45),(3413.2,213.45),(3413.2,120.05),(3400,120.05),(3400,120.25),(3413,120.25),(3413,213.25),(3188.5,213.25),(3188.5,-188.5)],
  [(3080.05,-188.2),(3080.05,-100),(3080.25,-100),(3080.25,-188),(3188,-188),(3188,213.75),(3413.5,213.75),(3413.5,119.75),(3400,119.75),(3400,119.95),(3413.3,119.95),(3413.3,213.55),(3188.2,213.55),(3188.2,-188.2)],
  [(3094.75,-184),(3094.75,-100),(3094.95,-100),(3094.95,-183.8),(3183.8,-183.8),(3183.8,217.95),(3417.7,217.95),(3417.7,80.05),(3400,80.05),(3400,80.25),(3417.5,80.25),(3417.5,217.75),(3184,217.75),(3184,-184)],
  [(3095.05,-183.7),(3095.05,-100),(3095.25,-100),(3095.25,-183.5),(3183.5,-183.5),(3183.5,218.25),(3418,218.25),(3418,79.75),(3400,79.75),(3400,79.95),(3417.8,79.95),(3417.8,218.05),(3183.7,218.05),(3183.7,-183.7)],
  [(3109.75,-179.5),(3109.75,-100),(3109.95,-100),(3109.95,-179.3),(3179.3,-179.3),(3179.3,222.45),(3422.2,222.45),(3422.2,40.05),(3400,40.05),(3400,40.25),(3422,40.25),(3422,222.25),(3179.5,222.25),(3179.5,-179.5)],
  [(3110.05,-179.2),(3110.05,-100),(3110.25,-100),(3110.25,-179),(3179,-179),(3179,222.75),(3422.5,222.75),(3422.5,39.75),(3400,39.75),(3400,39.95),(3422.3,39.95),(3422.3,222.55),(3179.2,222.55),(3179.2,-179.2)],
  [(3400,0.05),(3400,0.25),(3426.5,0.25),(3426.5,226.75),(3050.25,226.75),(3050.25,100),(3050.05,100),(3050.05,226.95),(3426.7,226.95),(3426.7,0.05)],
  [(3400,-0.25),(3400,-0.05),(3426.8,-0.05),(3426.8,227.05),(3049.95,227.05),(3049.95,100),(3049.75,100),(3049.75,227.25),(3427,227.25),(3427,-0.25)],
  [(3400,-39.95),(3400,-39.75),(3431,-39.75),(3431,231.25),(3035.25,231.25),(3035.25,100),(3035.05,100),(3035.05,231.45),(3431.2,231.45),(3431.2,-39.95)],
  [(3400,-40.25),(3400,-40.05),(3431.3,-40.05),(3431.3,231.55),(3034.95,231.55),(3034.95,100),(3034.75,100),(3034.75,231.75),(3431.5,231.75),(3431.5,-40.25)],
  [(3400,-79.95),(3400,-79.75),(3435.5,-79.75),(3435.5,235.75),(3020.25,235.75),(3020.25,100),(3020.05,100),(3020.05,235.95),(3435.7,235.95),(3435.7,-79.95)],
  [(3400,-80.25),(3400,-80.05),(3435.8,-80.05),(3435.8,236.05),(3019.95,236.05),(3019.95,100),(3019.75,100),(3019.75,236.25),(3436,236.25),(3436,-80.25)],
  [(3400,-119.95),(3400,-119.75),(3440,-119.75),(3440,240.25),(3005.25,240.25),(3005.25,100),(3005.05,100),(3005.05,240.45),(3440.2,240.45),(3440.2,-119.95)],
  [(3400,-120.25),(3400,-120.05),(3440.3,-120.05),(3440.3,240.55),(3004.95,240.55),(3004.95,100),(3004.75,100),(3004.75,240.75),(3440.5,240.75),(3440.5,-120.25)],
  [(3400,-159.95),(3400,-159.75),(3444.5,-159.75),(3444.5,244.75),(2990.25,244.75),(2990.25,100),(2990.05,100),(2990.05,244.95),(3444.7,244.95),(3444.7,-159.95)],
  [(3400,-160.25),(3400,-160.05),(3444.8,-160.05),(3444.8,245.05),(2989.95,245.05),(2989.95,100),(2989.75,100),(2989.75,245.25),(3445,245.25),(3445,-160.25)],
  [(3400,-199.95),(3400,-199.75),(3449,-199.75),(3449,249.25),(2975.25,249.25),(2975.25,100),(2975.05,100),(2975.05,249.45),(3449.2,249.45),(3449.2,-199.95)],
  [(3400,-200.25),(3400,-200.05),(3449.3,-200.05),(3449.3,249.55),(2974.95,249.55),(2974.95,100),(2974.75,100),(2974.75,249.75),(3449.5,249.75),(3449.5,-200.25)],
  [(3400,-239.95),(3400,-239.75),(3453.5,-239.75),(3453.5,253.75),(2960.25,253.75),(2960.25,100),(2960.05,100),(2960.05,253.95),(3453.7,253.95),(3453.7,-239.95)],
  [(3400,-240.25),(3400,-240.05),(3453.8,-240.05),(3453.8,254.05),(2959.95,254.05),(2959.95,100),(2959.75,100),(2959.75,254.25),(3454,254.25),(3454,-240.25)],
  [(3400,-279.95),(3400,-279.75),(3458,-279.75),(3458,258.25),(2945.25,258.25),(2945.25,100),(2945.05,100),(2945.05,258.45),(3458.2,258.45),(3458.2,-279.95)],
  [(3400,-280.25),(3400,-280.05),(3458.3,-280.05),(3458.3,258.55),(2944.95,258.55),(2944.95,100),(2944.75,100),(2944.75,258.75),(3458.5,258.75),(3458.5,-280.25)],
  [(3400,-319.95),(3400,-319.75),(3462.5,-319.75),(3462.5,262.75),(2930.25,262.75),(2930.25,100),(2930.05,100),(2930.05,262.95),(3462.7,262.95),(3462.7,-319.95)],
  [(3400,-320.25),(3400,-320.05),(3462.8,-320.05),(3462.8,263.05),(2929.95,263.05),(2929.95,100),(2929.75,100),(2929.75,263.25),(3463,263.25),(3463,-320.25)],
  [(3400,-359.95),(3400,-359.75),(3467,-359.75),(3467,267.25),(2915.25,267.25),(2915.25,100),(2915.05,100),(2915.05,267.45),(3467.2,267.45),(3467.2,-359.95)],
  [(3400,-360.25),(3400,-360.05),(3467.3,-360.05),(3467.3,267.55),(2914.95,267.55),(2914.95,100),(2914.75,100),(2914.75,267.75),(3467.5,267.75),(3467.5,-360.25)],
  [(3400,-399.95),(3400,-399.75),(3471.5,-399.75),(3471.5,271.75),(2821,271.75),(2821,50.25),(2900,50.25),(2900,50.05),(2820.8,50.05),(2820.8,271.95),(3471.7,271.95),(3471.7,-399.95)],
  [(3400,-400.25),(3400,-400.05),(3471.8,-400.05),(3471.8,272.05),(2820.7,272.05),(2820.7,49.95),(2900,49.95),(2900,49.75),(2820.5,49.75),(2820.5,272.25),(3472,272.25),(3472,-400.25)],
  [(3400,-439.95),(3400,-439.75),(3476,-439.75),(3476,276.25),(2816.5,276.25),(2816.5,35.25),(2900,35.25),(2900,35.05),(2816.3,35.05),(2816.3,276.45),(3476.2,276.45),(3476.2,-439.95)],
  [(3400,-440.25),(3400,-440.05),(3476.3,-440.05),(3476.3,276.55),(2816.2,276.55),(2816.2,34.95),(2900,34.95),(2900,34.75),(2816,34.75),(2816,276.75),(3476.5,276.75),(3476.5,-440.25)],
  [(3400,-479.95),(3400,-479.75),(3480.5,-479.75),(3480.5,280.75),(2812,280.75),(2812,20.25),(2900,20.25),(2900,20.05),(2811.8,20.05),(2811.8,280.95),(3480.7,280.95),(3480.7,-479.95)],
  [(3400,-480.25),(3400,-480.05),(3480.8,-480.05),(3480.8,281.05),(2811.7,281.05),(2811.7,19.95),(2900,19.95),(2900,19.75),(2811.5,19.75),(2811.5,281.25),(3481,281.25),(3481,-480.25)],
  [(3400,-519.95),(3400,-519.75),(3485,-519.75),(3485,285.25),(2807.5,285.25),(2807.5,5.25),(2900,5.25),(2900,5.05),(2807.3,5.05),(2807.3,285.45),(3485.2,285.45),(3485.2,-519.95)],
  [(3400,-520.25),(3400,-520.05),(3485.3,-520.05),(3485.3,285.55),(2807.2,285.55),(2807.2,4.95),(2900,4.95),(2900,4.75),(2807,4.75),(2807,285.75),(3485.5,285.75),(3485.5,-520.25)],
  [(3400,-559.95),(3400,-559.75),(3489.5,-559.75),(3489.5,289.75),(2803,289.75),(2803,-9.75),(2900,-9.75),(2900,-9.95),(2802.8,-9.95),(2802.8,289.95),(3489.7,289.95),(3489.7,-559.95)],
  [(3400,-560.25),(3400,-560.05),(3489.8,-560.05),(3489.8,290.05),(2802.7,290.05),(2802.7,-10.05),(2900,-10.05),(2900,-10.25),(2802.5,-10.25),(2802.5,290.25),(3490,290.25),(3490,-560.25)],
  [(3400,-599.95),(3400,-599.75),(3494,-599.75),(3494,294.25),(2798.5,294.25),(2798.5,-24.75),(2900,-24.75),(2900,-24.95),(2798.3,-24.95),(2798.3,294.45),(3494.2,294.45),(3494.2,-599.95)],
  [(3400,-600.25),(3400,-600.05),(3494.3,-600.05),(3494.3,294.55),(2798.2,294.55),(2798.2,-25.05),(2900,-25.05),(2900,-25.25),(2798,-25.25),(2798,294.75),(3494.5,294.75),(3494.5,-600.25)],
  [(3400,-639.95),(3400,-639.75),(3498.5,-639.75),(3498.5,298.75),(2794,298.75),(2794,-39.75),(2900,-39.75),(2900,-39.95),(2793.8,-39.95),(2793.8,298.95),(3498.7,298.95),(3498.7,-639.95)],
  [(3400,-640.25),(3400,-640.05),(3498.8,-640.05),(3498.8,299.05),(2793.7,299.05),(2793.7,-40.05),(2900,-40.05),(2900,-40.25),(2793.5,-40.25),(2793.5,299.25),(3499,299.25),(3499,-640.25)],
  [(3400,-679.95),(3400,-679.75),(3503,-679.75),(3503,303.25),(2789.5,303.25),(2789.5,-54.75),(2900,-54.75),(2900,-54.95),(2789.3,-54.95),(2789.3,303.45),(3503.2,303.45),(3503.2,-679.95)],
  [(3400,-680.25),(3400,-680.05),(3503.3,-680.05),(3503.3,303.55),(2789.2,303.55),(2789.2,-55.05),(2900,-55.05),(2900,-55.25),(2789,-55.25),(2789,303.75),(3503.5,303.75),(3503.5,-680.25)],
  [(3400,-719.95),(3400,-719.75),(3507.5,-719.75),(3507.5,307.75),(2785,307.75),(2785,-69.75),(2900,-69.75),(2900,-69.95),(2784.8,-69.95),(2784.8,307.95),(3507.7,307.95),(3507.7,-719.95)],
  [(3400,-720.25),(3400,-720.05),(3507.8,-720.05),(3507.8,308.05),(2784.7,308.05),(2784.7,-70.05),(2900,-70.05),(2900,-70.25),(2784.5,-70.25),(2784.5,308.25),(3508,308.25),(3508,-720.25)],
  [(3400,-759.95),(3400,-759.75),(3512,-759.75),(3512,312.25),(2780.5,312.25),(2780.5,-84.75),(2900,-84.75),(2900,-84.95),(2780.3,-84.95),(2780.3,312.45),(3512.2,312.45),(3512.2,-759.95)],
  [(3400,-760.25),(3400,-760.05),(3512.3,-760.05),(3512.3,312.55),(2780.2,312.55),(2780.2,-85.05),(2900,-85.05),(2900,-85.25),(2780,-85.25),(2780,312.75),(3512.5,312.75),(3512.5,-760.25)])
R(test_smart_routing_start, FLOORPLAN, [(-175,-175,175,175), (2825,-175,3175,175), (-175,2825,175,3175), (2825,2825,3175,3175)])
P(test_smart_routing_start, FLOORPLAN, [(-400,-200),(-400,760),(-400,760),(-400,-200)],
  [(-760,2600),(-760,2600),(200,2600),(200,2600)],
  [(3400,-760),(3400,200),(3400,200),(3400,-760)],
  [(2800,3400),(2800,3400),(3760,3400),(3760,3400)])

lib.write_gds('test_smart_routing_start_bboxTrue_sort_portsFalse_indirectTrue_start_angle-1m2True_m1False_zTrue_p1True_p2False.gds')
